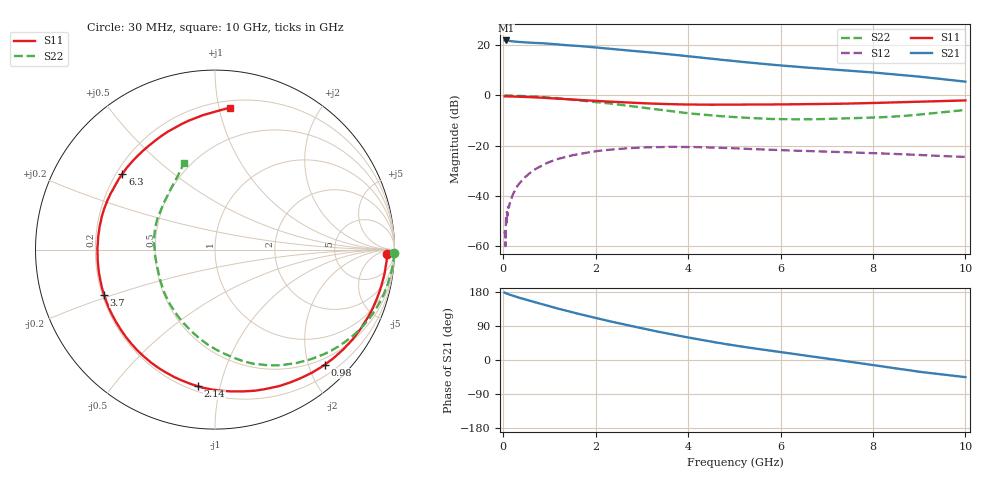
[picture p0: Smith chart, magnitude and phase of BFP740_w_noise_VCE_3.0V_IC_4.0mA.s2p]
! Infineon Technologies  Discrete & RF Semiconductors
! BFP740
! VCE =  3.0 V,  IC =  4.0 mA
! Common Emitter S-Parameters:  Jan 2016
# GHz  S  MA  R  50
!  f  S11  S21  S12  S22
! GHz  MAG  ANG  MAG  ANG  MAG  ANG  MAG  ANG
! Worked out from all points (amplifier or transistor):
!   229 points, 30 MHz to 10 GHz, reference 50 ohm
!   highest |S21| = 21.9 dB at 60 MHz (marker M1)
!   |S21| within 3 dB of that: start of sweep to 2.123 GHz
!   unconditionally stable (mu >= 1): 8.062 GHz to end of sweep
!   at 280 MHz: K = 0.08, MSG = 29.1 dB, |S12| = -36.9 dB
!   at 1.78 GHz: K = 0.21, MSG = 21.2 dB, |S12| = -22.8 dB
!   at 10 GHz: K = 1.19, MAG = 12.3 dB, |S12| = -24.5 dB
!   lowest NFmin = 0.45 dB at 450 MHz
!   S11 on the Smith chart (normalised r, x): 30 MHz: 35, -22; 980 MHz: 0.38, -2.28; 2.14 GHz: 0.23, -0.86; 3.7 GHz: 0.21, -0.19; 6.3 GHz: 0.22, +0.34; 10 GHz: 0.25, +1.08
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0.03  0.9595 -1.5  12.38 177.7  0.0018 68.9  0.9985 -1.1
0.04  0.9599 -2.0  12.26 177.2  0.002 81.1  0.9983 -1.4
0.05  0.9603 -2.4  12.35 177.0  0.001 79.2  0.9973 -1.9
0.06  0.959 -3.0  12.41 176.1  0.0038 78.9  0.9979 -2.1
0.07  0.9586 -3.5  12.34 175.7  0.0029 90.8  0.9973 -2.4
0.08  0.9581 -4.0  12.34 175.1  0.0048 83.3  0.997 -2.8
0.2  0.9514 -9.8  11.93 169.9  0.0102 83.3  0.9909 -6.8
0.4  0.939 -19.3  11.53 162.5  0.02 76.9  0.9759 -13.3
0.8  0.9052 -38.0  11 148.7  0.0387 65.0  0.9347 -25.8
0.98  0.886 -46.4  10.73 142.6  0.0465 59.7  0.9085 -31.5
1.3  0.85 -60.7  10.14 132.0  0.0582 50.7  0.8585 -40.9
1.7  0.807 -78.3  9.505 119.8  0.07 40.6  0.7915 -51.9
2.14  0.7677 -97.1  8.762 106.9  0.0803 30.2  0.7177 -64.0
2.88  0.7099 -126.9  7.601 86.8  0.0907 15.1  0.594 -82.9
3.4  0.6791 -147.1  6.862 73.6  0.0936 5.6  0.5162 -97.0
3.7  0.6676 -157.9  6.438 66.4  0.0948 0.4  0.4775 -105.1
4.3  0.6546 -177.9  5.643 52.7  0.0928 -8.7  0.4145 -122.1
5.1  0.657 161.6  4.725 36.6  0.088 -18.2  0.3669 -141.5
6.3  0.6674 140.6  3.752 15.9  0.0797 -27.0  0.3347 -169.0
6.8  0.6744 132.5  3.459 7.5  0.077 -30.1  0.3365 179.0
8.4  0.7239 104.9  2.663 -20.5  0.0689 -38.1  0.3768 142.0
10  0.7954 83.9  1.882 -45.2  0.0598 -40.5  0.5146 109.5
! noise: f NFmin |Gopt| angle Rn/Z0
0.45  0.45  0.46  11  0.27
0.9  0.45  0.46  18  0.26
1.5  0.49  0.45  27  0.25
1.9  0.53  0.43  43  0.24
2.4  0.55  0.43  48  0.23
3.5  0.67  0.39  70  0.21
5.5  0.9  0.28  159  0.19
10  1.62  0.57  -84  0.25
